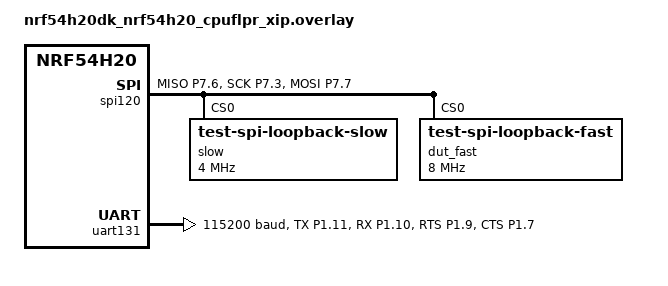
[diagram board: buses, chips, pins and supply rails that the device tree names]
/*
 * Copyright (c) 2025 Nordic Semiconductor ASA
 *
 * SPDX-License-Identifier: Apache-2.0
 */

/ {
	chosen {
		zephyr,console = &uart131;
	};
};

&pinctrl {
	spi120_default: spi120_default {
		group1 {
			psels = <NRF_PSEL(SPIM_MISO, 7, 6)>;
		};

		group2 {
			psels = <NRF_PSEL(SPIM_SCK, 7, 3)>,
				<NRF_PSEL(SPIM_MOSI, 7, 7)>;
			nordic,drive-mode = <NRF_DRIVE_E0E1>;
		};
	};

	spi120_sleep: spi120_sleep {
		group1 {
			psels = <NRF_PSEL(SPIM_SCK, 7, 3)>,
				<NRF_PSEL(SPIM_MISO, 7, 6)>,
				<NRF_PSEL(SPIM_MOSI, 7, 7)>;
			low-power-enable;
		};
	};

	uart131_default_alt: uart131_default_alt {
		group1 {
			psels = <NRF_PSEL(UART_TX, 1, 11)>,
				<NRF_PSEL(UART_RX, 1, 10)>,
				<NRF_PSEL(UART_RTS, 1, 9)>,
				<NRF_PSEL(UART_CTS, 1, 7)>;
		};
	};

	uart131_sleep_alt: uart131_sleep_alt {
		group1 {
			psels = <NRF_PSEL(UART_TX, 1, 6)>,
				<NRF_PSEL(UART_RX, 1, 10)>,
				<NRF_PSEL(UART_RTS, 1, 9)>,
				<NRF_PSEL(UART_CTS, 1, 7)>;
			low-power-enable;
		};
	};
};

&spi120 {
	status = "okay";
	pinctrl-0 = <&spi120_default>;
	pinctrl-1 = <&spi120_sleep>;
	pinctrl-names = "default", "sleep";
	overrun-character = <0x00>;
	zephyr,pm-device-runtime-auto;

	slow@0 {
		compatible = "test-spi-loopback-slow";
		reg = <0>;
		spi-max-frequency = <DT_FREQ_M(4)>;
	};

	dut_fast: fast@0 {
		compatible = "test-spi-loopback-fast";
		reg = <0>;
		spi-max-frequency = <DT_FREQ_M(8)>;
	};
};

&uart120 {
	status = "disabled";
};

&uart131 {
	status = "okay";
	pinctrl-0 = <&uart131_default_alt>;
	pinctrl-1 = <&uart131_sleep_alt>;
	pinctrl-names = "default", "sleep";
	current-speed = <115200>;
	hw-flow-control;
};

&gpiote130 {
	status = "okay";
	interrupts = <0x69 0x1>;
};
